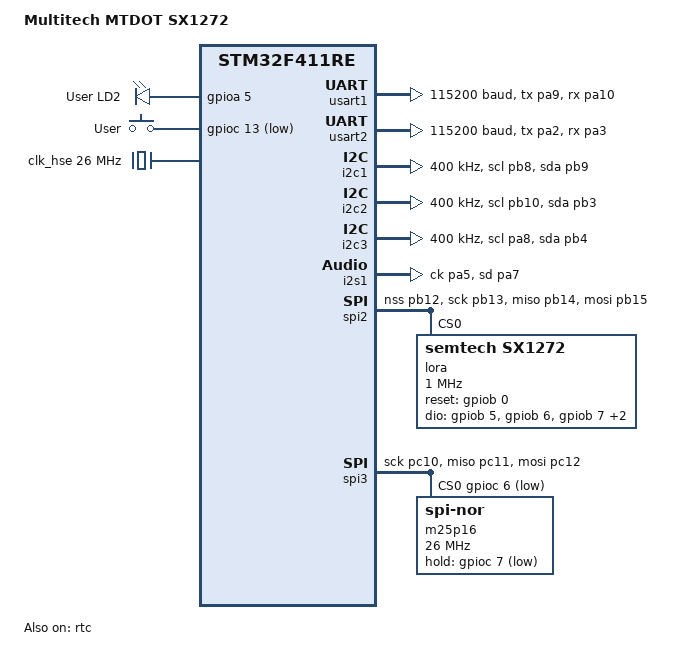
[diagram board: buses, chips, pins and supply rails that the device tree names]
/*
 * Copyright (c) 2017 Linaro Limited
 *
 * SPDX-License-Identifier: Apache-2.0
 */

/dts-v1/;
#include <st/f4/stm32f411Xe.dtsi>
#include <st/f4/stm32f411r(c-e)tx-pinctrl.dtsi>
#include "arduino_r3_connector.dtsi" 
/* #include "st_morpho_connector.dtsi" */
#include <zephyr/dt-bindings/input/input-event-codes.h>

/ {
	model = "Multitech MTDOT SX1272";
	compatible = "st,stm32f411re-nucleo";

	chosen {
		/*
		 * usart1, on PA9/PA10 -- the mDot's debug UART.
		 *
		 * This file began as an adaptation of the Nucleo-F411RE (it still
		 * declares that compatible) and inherited that board's UART
		 * mapping, which put the console on usart2/PA2-PA3. On an mDot the
		 * interface MCU is wired to PA9/PA10: mbed's target for this module
		 * defines USBTX/USBRX there, and it is confirmed on hardware.
		 *
		 * The symptom of the old mapping is the expensive one: a correctly
		 * programmed image prints NOTHING at any baud, and a break-and-DTR
		 * reset produces nothing either, which is indistinguishable from a
		 * target that never ran. It cost a bring-up before the pins were
		 * questioned.
		 */
		zephyr,console = &usart1;
		zephyr,shell-uart = &usart1;
		zephyr,sram = &sram0;
		zephyr,flash = &flash0;
		zephyr,flash-controller = &m25p16;
	};

	leds: leds {
		compatible = "gpio-leds";
		green_led_2: led_2 {
			gpios = <&gpioa 5 GPIO_ACTIVE_HIGH>;
			label = "User LD2";
		};
	};

	gpio_keys {
		compatible = "gpio-keys";
		user_button: button {
			label = "User";
			gpios = <&gpioc 13 GPIO_ACTIVE_LOW>;
			zephyr,code = <INPUT_KEY_0>;
		};
	};

	aliases {
		led0 = &green_led_2;
		sw0 = &user_button;
		lora0 = &lora;
		flash1 = &m25p16;
	};
};

&clk_lsi {
	/* Unused now the RTC takes the LSE crystal; left off to save the power. */
	status = "disabled";
};

/* 32.768 kHz crystal, fitted on this board -- confirmed with Jason 2026-09-20,
 * and mbed agrees: MTS_MDOT_F411RE leaves target.lse_available at 1, where
 * MTS_DRAGONFLY_F411RE overrides it to 0 for a board without one.
 */
&clk_lse {
	status = "okay";
};

&clk_hse {
	clock-frequency = <DT_FREQ_M(26)>; /* 26MHz clock */
	status = "okay";
};

&pll {
	div-m = <26>;
	mul-n = <200>;
	div-p = <2>;
	div-q = <4>;
	clocks = <&clk_hse>;
	status = "okay";
};

&rcc {
	clocks = <&pll>;
	clock-frequency = <DT_FREQ_M(100)>;
	ahb-prescaler = <1>;
	apb1-prescaler = <2>;
	apb2-prescaler = <1>;
};

&usart1 {
	/* PA9/PA10, not the Nucleo's PB6/PB7 -- see the chosen node above. */
	pinctrl-0 = <&usart1_tx_pa9 &usart1_rx_pa10>;
	pinctrl-names = "default";
	current-speed = <115200>;
	status = "okay";
};

&usart2 {
	pinctrl-0 = <&usart2_tx_pa2 &usart2_rx_pa3>;
	pinctrl-names = "default";
	current-speed = <115200>;
	status = "okay";
};

&i2c1 {
	pinctrl-0 = <&i2c1_scl_pb8 &i2c1_sda_pb9>;
	pinctrl-names = "default";
	status = "okay";
	clock-frequency = <I2C_BITRATE_FAST>;
};

&i2c2 {
	pinctrl-0 = <&i2c2_scl_pb10 &i2c2_sda_pb3>;
	pinctrl-names = "default";
	clock-frequency = <I2C_BITRATE_FAST>;
};

&i2c3 {
	pinctrl-0 = <&i2c3_scl_pa8 &i2c3_sda_pb4>;
	pinctrl-names = "default";
	clock-frequency = <I2C_BITRATE_FAST>;
};

&i2s1 {
	pinctrl-0 = <&i2s1_ck_pa5 &i2s1_sd_pa7>;
	pinctrl-names = "default";
};

&spi2 {
	pinctrl-0 = <&spi2_nss_pb12 &spi2_sck_pb13
		     &spi2_miso_pb14 &spi2_mosi_pb15>;
	pinctrl-names = "default";
	status = "okay";

	lora: spi2@0 {
		compatible = "semtech,sx1272";
		reg = <0x0>;
		spi-max-frequency = <DT_FREQ_M(1)>;

		reset-gpios = <&gpiob 0 GPIO_ACTIVE_HIGH>;   /* A0 */

		dio-gpios = <&gpiob 5 (GPIO_PULL_UP | GPIO_ACTIVE_HIGH)>,	   /* DIO0 is D2 */
		            <&gpiob 6 (GPIO_PULL_UP | GPIO_ACTIVE_HIGH)>,	   /* DIO1 is D3 */
			    <&gpiob 7 (GPIO_PULL_UP | GPIO_ACTIVE_HIGH)>,	   /* DIO2 is D4 */
			    <&gpiob 8 (GPIO_PULL_UP | GPIO_ACTIVE_HIGH)>,    /* DIO3 is D5 */
				<&gpiob 9 (GPIO_PULL_UP | GPIO_ACTIVE_HIGH)>;	   /* DIO4 is D5 */

		power-amplifier-output = "pa-boost";
	};
};

&spi3 {
	pinctrl-0 = <&spi3_sck_pc10
		     &spi3_miso_pc11 &spi3_mosi_pc12>;
	pinctrl-names = "default";
	status = "okay";

	cs-gpios = <&gpioc 6 (GPIO_ACTIVE_LOW | GPIO_PULL_DOWN)>;

	m25p16: m25p16@0 {
		compatible = "jedec,spi-nor";
		reg = <0>;
		spi-max-frequency = <DT_FREQ_M(26)>;

		size = <0x200000>;
		page-size = <256>;

		has-dpd;
		t-enter-dpd = <10000>;
		t-exit-dpd = <35000>;
		has-lock = <0x06>;
		
		#wp-gpios = <&gpioc 8 (GPIO_ACTIVE_LOW | GPIO_PULL_DOWN)>;
		hold-gpios = <&gpioc 7 (GPIO_ACTIVE_LOW | GPIO_PULL_DOWN)>;

		jedec-id = [20 20 15];
		status = "okay";
	};
};

/* THE RTC RUNS ON THE LSE CRYSTAL, NOT THE INTERNAL RC.
 *
 * This said STM32_SRC_LSI RTC_SEL(2) -- the internal RC -- and declared no
 * clk_lse node at all, so the 32.768 kHz crystal this board carries could not
 * be reached. An LSI is a percent-level part: 1% is 10,000 ppm against a
 * crystal specified at 20 ppm, so any Class B ping-slot budget computed on it
 * is meaningless, and the error is 500x the effects we spend days measuring.
 *
 * It was almost certainly inherited rather than chosen: every upstream ST F4
 * board, nucleo_f411re included, selects LSI here, and a Nucleo often ships
 * with its LSE crystal footprint unpopulated. Correct for those boards. Not
 * correct for this one.
 *
 * It stayed invisible because nothing measured runs through it -- the timing
 * work is mbed-side on the MAX32670 xDot, so no number this tree produces has
 * ever depended on this selector.
 *
 * NOTE FOR THE FIRST BOOT ON REAL HARDWARE. Zephyr's STM32 clock driver waits
 * for LSE with an UNBOUNDED spin (clock_stm32_ll_common.c, "while
 * (!LL_RCC_LSE_IsReady()) {}"). If the crystal is absent or will not start, the
 * board hangs there before main with no console output and no fault -- which
 * reads as dead hardware. That is the same failure shape that bit the xDot ES
 * ERTCO wait. If this board goes silent after this change, that loop is where
 * it is.
 */
&rtc {
	clocks = <&rcc STM32_CLOCK_BUS_APB1 0x10000000>,
		 <&rcc STM32_SRC_LSE RTC_SEL(1)>;
	status = "okay";
};
